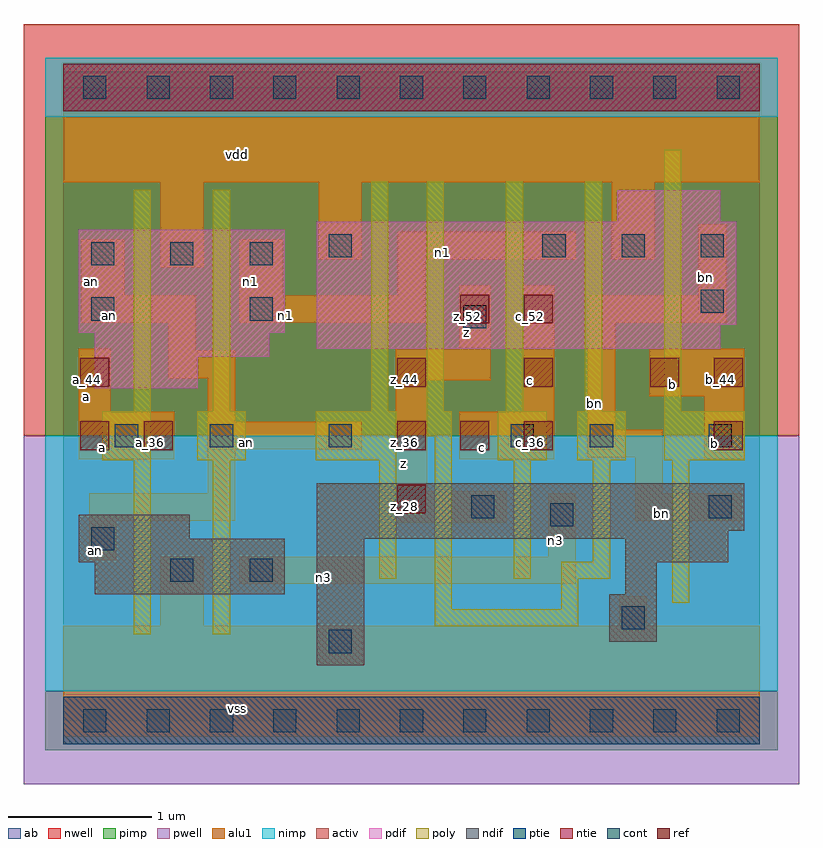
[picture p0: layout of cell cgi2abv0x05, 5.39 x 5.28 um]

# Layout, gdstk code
import gdstk
lib = gdstk.Library(unit=1e-6, precision=2.5e-09)
def R(c, l, rs):  # rectangles x0, y0, x1, y1
    for r in rs: c.add(gdstk.rectangle(r[:2], r[2:], *l))
def A(c, l, x, y, w, h, nx, ny, dx, dy):  # array of equal rectangles
    R(c, l, [(x+i*dx, y+j*dy, x+i*dx+w, y+j*dy+h) for i in range(nx) for j in range(ny)])
ndif = (3, 0)
pdif = (4, 0)
ntie = (5, 0)
ptie = (6, 0)
ref = (24, 0)
cont = (25, 0)
pwell = (41, 0)
nwell = (42, 0)
activ = (43, 0)
pimp = (44, 0)
nimp = (45, 0)
poly = (46, 0)
alu1 = (49, 0)
ab = (63, 0)

cgi2abv0x05 = lib.new_cell('cgi2abv0x05')
R(cgi2abv0x05, ndif, [(1.76,0.385,2.09,1.265), (3.795,0.55,4.125,0.88), (0.22,0.88,1.54,1.1), (3.905,0.88,4.125,1.1), (0.11,1.1,1.54,1.265), (3.905,1.1,4.62,1.265), (0.11,1.265,0.88,1.43), (1.76,1.265,4.62,1.32), (1.76,1.32,4.73,1.65)])
R(cgi2abv0x05, pdif, [(0.22,2.31,0.935,2.53), (0.22,2.53,1.43,2.695), (1.76,2.585,4.565,2.75), (0.11,2.695,1.54,3.41), (1.76,2.75,4.675,3.465), (3.85,3.465,4.565,3.685)])
R(cgi2abv0x05, ntie, [(0,4.235,4.84,4.565)])
R(cgi2abv0x05, ptie, [(0,-0.165,4.84,0.165)])
A(cgi2abv0x05, ref, 2.32, 1.88, 0.2, 0.2, 3, 1, 0.44, 0)
A(cgi2abv0x05, ref, 2.32, 2.32, 0.2, 0.2, 3, 1, 0.88, 0)
R(cgi2abv0x05, ref, [(2.32,1.44,2.52,1.64), (0.12,1.88,0.32,2.08), (0.56,1.88,0.76,2.08), (4.52,1.88,4.72,2.08), (0.12,2.32,0.32,2.52), (4.52,2.32,4.72,2.52), (2.76,2.76,2.96,2.96), (3.2,2.76,3.4,2.96)])
A(cgi2abv0x05, cont, 0.14, -0.08, 0.16, 0.16, 11, 2, 0.44, 4.4)
A(cgi2abv0x05, cont, 0.195, 3.165, 0.16, 0.16, 3, 1, 0.55, 0)
A(cgi2abv0x05, cont, 3.33, 3.22, 0.16, 0.16, 3, 1, 0.55, 0)
R(cgi2abv0x05, cont, [(1.845,0.47,2.005,0.63), (3.88,0.635,4.04,0.795), (0.745,0.965,0.905,1.125), (1.295,0.965,1.455,1.125), (0.195,1.185,0.355,1.345), (3.385,1.35,3.545,1.51), (2.835,1.405,2.995,1.565), (4.485,1.405,4.645,1.565), (0.36,1.9,0.52,2.06), (1.02,1.9,1.18,2.06), (1.845,1.9,2.005,2.06), (3.11,1.9,3.27,2.06), (3.66,1.9,3.82,2.06), (4.485,1.9,4.645,2.06), (2.78,2.725,2.94,2.885), (0.195,2.78,0.355,2.94), (1.295,2.78,1.455,2.94), (4.43,2.835,4.59,2.995), (1.845,3.22,2.005,3.38)])
R(cgi2abv0x05, pwell, [(-0.275,-0.44,5.115,1.98)])
R(cgi2abv0x05, nwell, [(-0.275,1.98,5.115,4.84)])
R(cgi2abv0x05, activ, [(0,-0.165,4.84,0.165), (1.76,0.385,2.09,1.265), (3.795,0.55,4.125,0.88), (0.22,0.88,1.54,1.1), (3.905,0.88,4.125,1.1), (0.11,1.1,1.54,1.265), (3.905,1.1,4.62,1.265), (0.11,1.265,0.88,1.43), (1.76,1.265,4.62,1.32), (1.76,1.32,4.73,1.65), (0.22,2.31,0.935,2.53), (0.22,2.53,1.43,2.695), (1.76,2.585,4.565,2.75), (0.11,2.695,1.54,3.41), (1.76,2.75,4.675,3.465), (3.85,3.465,4.565,3.685), (0,4.235,4.84,4.565)])
R(cgi2abv0x05, pimp, [(-0.125,-0.205,4.965,0.205), (-0.125,1.98,4.965,4.195)])
R(cgi2abv0x05, nimp, [(-0.125,0.205,4.965,1.98), (-0.125,4.195,4.965,4.605)])
A(cgi2abv0x05, poly, 2.525, 2.15, 0.12, 1.595, 3, 1, 0.55, 0)
R(cgi2abv0x05, poly, [(0.49,0.6,0.61,1.81), (1.04,0.6,1.16,1.81), (2.58,0.655,3.58,0.775), (2.58,0.775,2.7,1.975), (3.46,0.775,3.58,0.985), (4.23,0.82,4.35,1.81), (2.195,0.985,2.315,1.81), (3.13,0.985,3.25,1.81), (3.46,0.985,3.8,1.105), (3.68,1.105,3.8,1.81), (0.27,1.81,0.61,2.15), (0.93,1.81,1.27,2.15), (1.755,1.81,2.315,2.15), (3.02,1.81,3.36,2.15), (3.57,1.81,3.91,2.15), (4.175,1.81,4.735,2.15), (2.525,1.975,2.7,2.15), (0.49,2.15,0.61,3.69), (1.04,2.15,1.16,3.69), (2.14,2.15,2.26,3.745), (4.175,2.15,4.295,3.965)])
R(cgi2abv0x05, alu1, [(0,-0.11,4.84,0.66), (0.675,0.66,0.975,1.14), (3.865,0.66,4.055,0.865), (1.225,0.95,3.56,1.14), (0.18,1.115,0.37,1.39), (3.37,1.14,3.56,1.58), (2.31,1.375,3.08,1.595), (0.18,1.39,1.195,1.58), (3.975,1.39,4.715,1.58), (1.005,1.58,1.195,1.885), (3.975,1.58,4.165,1.83), (2.31,1.595,2.53,2.365), (0.11,1.815,0.77,2.145), (2.75,1.815,3.41,2.145), (4.455,1.815,4.73,2.255), (3.645,1.83,4.165,2.02), (1.005,1.885,2.075,2.075), (3.645,2.02,3.835,2.765), (1.005,2.075,1.195,2.38), (0.11,2.145,0.33,2.585), (3.19,2.145,3.41,3.025), (4.07,2.255,4.73,2.585), (2.31,2.365,2.97,2.585), (0.73,2.38,1.195,2.57), (0.73,2.57,0.92,2.765), (2.75,2.585,2.97,3.025), (0.125,2.765,0.92,2.955), (1.225,2.765,2.515,2.955), (3.645,2.765,4.605,2.955), (0.125,2.955,0.425,3.34), (1.225,2.955,1.525,3.34), (2.325,2.955,2.515,3.205), (4.415,2.955,4.605,3.45), (0.675,3.15,0.975,3.74), (1.775,3.205,2.075,3.74), (2.325,3.205,3.56,3.395), (3.81,3.205,4.11,3.74), (0,3.74,4.84,4.51)])
R(cgi2abv0x05, ab, [(0,0,4.84,4.4)])
cgi2abv0x05.add(gdstk.Label('vss', (1.21,0.0825), layer=49, texttype=0))
cgi2abv0x05.add(gdstk.Label('n3', (1.8075,0.9975), layer=49, texttype=0))
cgi2abv0x05.add(gdstk.Label('bn', (4.16,1.4375), layer=49, texttype=0))
cgi2abv0x05.add(gdstk.Label('n3', (3.4175,1.25), layer=49, texttype=0))
cgi2abv0x05.add(gdstk.Label('b', (4.5225,1.925), layer=49, texttype=0))
cgi2abv0x05.add(gdstk.Label('an', (0.2275,1.1825), layer=49, texttype=0))
cgi2abv0x05.add(gdstk.Label('b', (4.235,2.3375), layer=49, texttype=0))
cgi2abv0x05.add(gdstk.Label('bn', (3.6925,2.205), layer=49, texttype=0))
cgi2abv0x05.add(gdstk.Label('c', (2.915,1.8975), layer=49, texttype=0))
cgi2abv0x05.add(gdstk.Label('bn', (4.4625,3.0775), layer=49, texttype=0))
cgi2abv0x05.add(gdstk.Label('c', (3.245,2.365), layer=49, texttype=0))
cgi2abv0x05.add(gdstk.Label('z', (2.365,1.7875), layer=49, texttype=0))
cgi2abv0x05.add(gdstk.Label('an', (1.2725,1.9325), layer=49, texttype=0))
cgi2abv0x05.add(gdstk.Label('a', (0.275,1.8975), layer=49, texttype=0))
cgi2abv0x05.add(gdstk.Label('z', (2.805,2.695), layer=49, texttype=0))
cgi2abv0x05.add(gdstk.Label('a', (0.165,2.255), layer=49, texttype=0))
cgi2abv0x05.add(gdstk.Label('n1', (1.5475,2.8125), layer=49, texttype=0))
cgi2abv0x05.add(gdstk.Label('an', (0.3225,2.8125), layer=49, texttype=0))
cgi2abv0x05.add(gdstk.Label('n1', (2.6325,3.2525), layer=49, texttype=0))
cgi2abv0x05.add(gdstk.Label('n1', (1.3,3.05), layer=49, texttype=0))
cgi2abv0x05.add(gdstk.Label('an', (0.2,3.05), layer=49, texttype=0))
cgi2abv0x05.add(gdstk.Label('vdd', (1.21,3.9325), layer=49, texttype=0))
cgi2abv0x05.add(gdstk.Label('a_36', (0.61,1.93), layer=24, texttype=0))
cgi2abv0x05.add(gdstk.Label('a_36', (0.17,1.93), layer=24, texttype=0))
cgi2abv0x05.add(gdstk.Label('a_44', (0.17,2.37), layer=24, texttype=0))
cgi2abv0x05.add(gdstk.Label('z_28', (2.37,1.49), layer=24, texttype=0))
cgi2abv0x05.add(gdstk.Label('z_36', (2.37,1.93), layer=24, texttype=0))
cgi2abv0x05.add(gdstk.Label('z_44', (2.37,2.37), layer=24, texttype=0))
cgi2abv0x05.add(gdstk.Label('c_36', (2.81,1.93), layer=24, texttype=0))
cgi2abv0x05.add(gdstk.Label('z_52', (2.81,2.81), layer=24, texttype=0))
cgi2abv0x05.add(gdstk.Label('c_36', (3.25,1.93), layer=24, texttype=0))
cgi2abv0x05.add(gdstk.Label('c_44', (3.25,2.37), layer=24, texttype=0))
cgi2abv0x05.add(gdstk.Label('c_52', (3.25,2.81), layer=24, texttype=0))
cgi2abv0x05.add(gdstk.Label('b_44', (4.13,2.37), layer=24, texttype=0))
cgi2abv0x05.add(gdstk.Label('b_36', (4.57,1.93), layer=24, texttype=0))
cgi2abv0x05.add(gdstk.Label('b_44', (4.57,2.37), layer=24, texttype=0))

lib.write_gds('cgi2abv0x05.gds')
